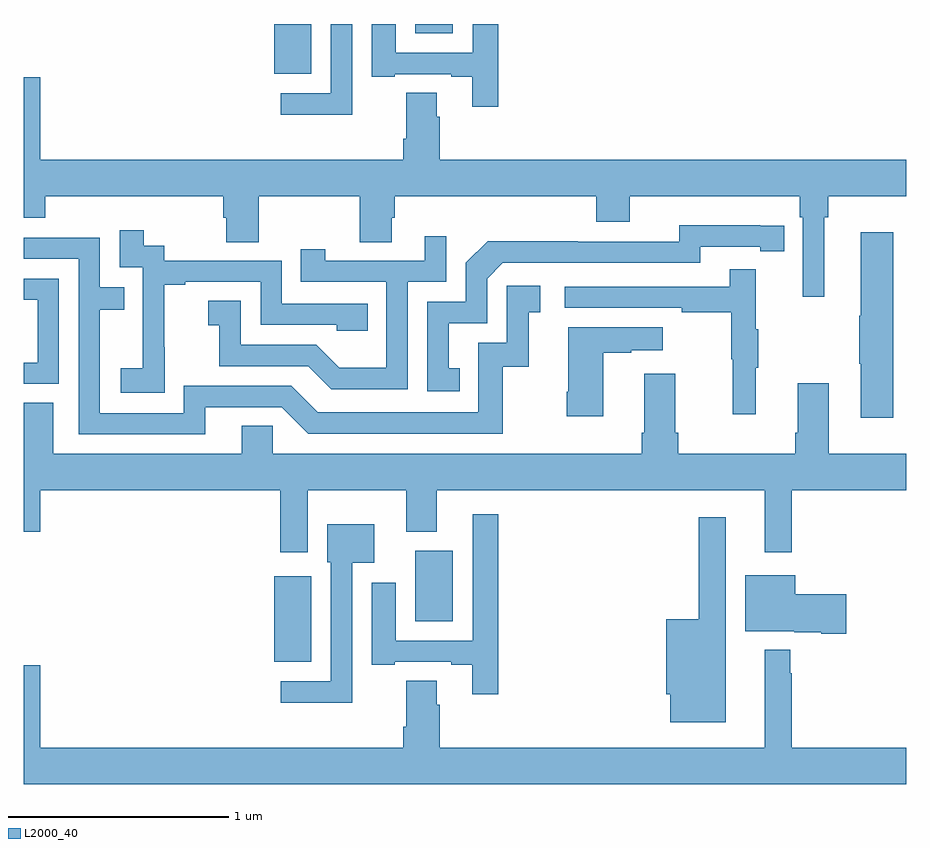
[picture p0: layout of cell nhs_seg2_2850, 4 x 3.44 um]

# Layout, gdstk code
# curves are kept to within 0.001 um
import gdstk
lib = gdstk.Library(unit=1e-6, precision=1e-09)
def R(c, l, rs):  # rectangles x0, y0, x1, y1
    for r in rs: c.add(gdstk.rectangle(r[:2], r[2:], *l))
def P(c, l, *ps):  # polygons
    for p in ps: c.add(gdstk.Polygon(p, *l))
L2000_40 = (2000, 40)

nhs_seg2_2850 = lib.new_cell('nhs_seg2_2850')
R(nhs_seg2_2850, L2000_40, [(262.136,594.911,262.303,595.297), (262.775,595.094,262.945,595.414), (262.136,597.575,262.303,597.8), (262.775,597.758,262.945,597.8)])
P(nhs_seg2_2850, L2000_40, [(262.488,597.8),(262.392,597.8),(262.392,597.486),(262.164,597.486),(262.164,597.389),(262.488,597.389)],
  [(263.15,597.8),(263.034,597.8),(263.034,597.669),(262.687,597.669),(262.687,597.8),(262.577,597.8),(262.577,597.561),(262.681,597.561),(262.681,597.573),(262.937,597.573),(262.937,597.561),(263.033,597.561),(263.033,597.426),(263.15,597.426)],
  [(263.594,596.903),(263.746,596.903),(263.746,597.02),(264.518,597.02),(264.518,596.924),(264.531,596.924),(264.531,596.565),(264.628,596.565),(264.628,596.924),(264.647,596.924),(264.647,597.02),(265,597.02),(265,597.184),(262.886,597.184),(262.886,597.38),(262.873,597.38),(262.873,597.488),(262.733,597.488),(262.733,597.28),(262.721,597.28),(262.721,597.184),(261.076,597.184),(261.076,597.559),(261,597.559),(261,596.921),(261.098,596.921),(261.098,597.02),(261.904,597.02),(261.904,596.922),(261.917,596.922),(261.917,596.812),(262.065,596.812),(262.065,597.02),(262.522,597.02),(262.522,596.812),(262.669,596.812),(262.669,596.922),(262.682,596.922),(262.682,597.02),(263.594,597.02)],
  [(262.976,596.241),(262.927,596.241),(262.927,596.445),(263.1,596.445),(263.1,596.646),(263.172,596.718),(264.066,596.718),(264.066,596.79),(264.338,596.79),(264.338,596.77),(264.446,596.77),(264.446,596.886),(263.97,596.887),(263.97,596.814),(263.51,596.814),(263.51,596.816),(263.102,596.816),(263.004,596.718),(263.004,596.541),(262.83,596.541),(262.83,596.136),(262.976,596.136)],
  [(261.639,596.335),(261.638,596.335),(261.638,596.619),(261.733,596.619),(261.733,596.631),(262.074,596.631),(262.074,596.436),(262.419,596.436),(262.419,596.409),(262.559,596.409),(262.559,596.532),(262.17,596.532),(262.17,596.727),(261.636,596.727),(261.636,596.796),(261.544,596.796),(261.544,596.866),(261.435,596.866),(261.435,596.697),(261.54,596.697),(261.54,596.468),(261.539,596.468),(261.539,596.239),(261.441,596.239),(261.441,596.129),(261.639,596.129)],
  [(264.94,596.857),(264.794,596.857),(264.794,596.477),(264.787,596.477),(264.787,596.26),(264.794,596.26),(264.794,596.016),(264.94,596.016)],
  [(262.74,596.631),(262.914,596.631),(262.914,596.839),(262.817,596.839),(262.817,596.727),(262.366,596.727),(262.366,596.779),(262.255,596.779),(262.255,596.631),(262.644,596.631),(262.644,596.242),(262.43,596.242),(262.326,596.346),(261.984,596.346),(261.984,596.545),(261.837,596.545),(261.837,596.435),(261.886,596.435),(261.886,596.25),(262.289,596.25),(262.394,596.145),(262.74,596.145)],
  [(261.823,596.064),(262.17,596.064),(262.29,595.944),(263.17,595.944),(263.17,596.247),(263.288,596.247),(263.288,596.493),(263.341,596.493),(263.341,596.614),(263.19,596.614),(263.19,596.355),(263.061,596.355),(263.061,596.04),(262.332,596.04),(262.212,596.16),(261.726,596.16),(261.726,596.037),(261.345,596.037),(261.345,596.506),(261.455,596.506),(261.455,596.607),(261.345,596.607),(261.345,596.832),(261,596.832),(261,596.736),(261.249,596.736),(261.249,595.941),(261.823,595.941)],
  [(264.317,596.243),(264.328,596.243),(264.328,596.417),(264.317,596.417),(264.317,596.689),(264.199,596.689),(264.199,596.61),(263.451,596.61),(263.451,596.514),(263.983,596.514),(263.983,596.494),(264.207,596.494),(264.207,596.28),(264.214,596.28),(264.214,596.031),(264.317,596.031)],
  [(261.159,596.646),(261,596.646),(261,596.55),(261.063,596.55),(261.063,596.265),(261,596.265),(261,596.169),(261.159,596.169)],
  [(263.626,596.311),(263.753,596.311),(263.753,596.321),(263.896,596.321),(263.896,596.425),(263.468,596.425),(263.468,596.134),(263.461,596.134),(263.461,596.022),(263.626,596.022)],
  [(262.288,595.688),(262.733,595.688),(262.733,595.499),(262.873,595.499),(262.873,595.688),(264.359,595.688),(264.359,595.407),(264.481,595.407),(264.481,595.688),(265,595.688),(265,595.852),(264.649,595.852),(264.649,596.173),(264.509,596.173),(264.509,595.948),(264.497,595.948),(264.497,595.852),(263.966,595.852),(263.966,595.948),(263.953,595.948),(263.953,596.215),(263.813,596.215),(263.813,595.948),(263.801,595.948),(263.801,595.852),(262.128,595.852),(262.128,595.979),(261.989,595.979),(261.989,595.852),(261.133,595.852),(261.133,596.084),(261,596.084),(261,595.5),(261.076,595.5),(261.076,595.688),(262.163,595.688),(262.163,595.407),(262.288,595.407)],
  [(263.15,595.579),(263.034,595.579),(263.034,595.005),(262.687,595.005),(262.687,595.267),(262.577,595.267),(262.577,594.897),(262.681,594.897),(262.681,594.909),(262.937,594.909),(262.937,594.897),(263.033,594.897),(263.033,594.762),(263.15,594.762)],
  [(264.181,595.564),(264.06,595.564),(264.06,595.102),(263.912,595.102),(263.912,594.762),(263.93,594.762),(263.93,594.635),(264.181,594.635)],
  [(262.488,595.358),(262.588,595.358),(262.588,595.534),(262.376,595.534),(262.376,595.362),(262.392,595.362),(262.392,594.822),(262.164,594.822),(262.164,594.725),(262.488,594.725)],
  [(264.727,595.215),(264.496,595.215),(264.496,595.303),(264.269,595.303),(264.269,595.049),(264.492,595.049),(264.492,595.043),(264.614,595.043),(264.614,595.037),(264.727,595.037)],
  [(265,594.52),(264.481,594.52),(264.481,594.857),(264.473,594.857),(264.473,594.964),(264.359,594.964),(264.359,594.52),(262.886,594.52),(262.886,594.716),(262.873,594.716),(262.873,594.824),(262.733,594.824),(262.733,594.616),(262.721,594.616),(262.721,594.52),(261.076,594.52),(261.076,594.895),(261,594.895),(261,594.356),(265,594.356)])

lib.write_gds('nhs_seg2_2850.gds')
